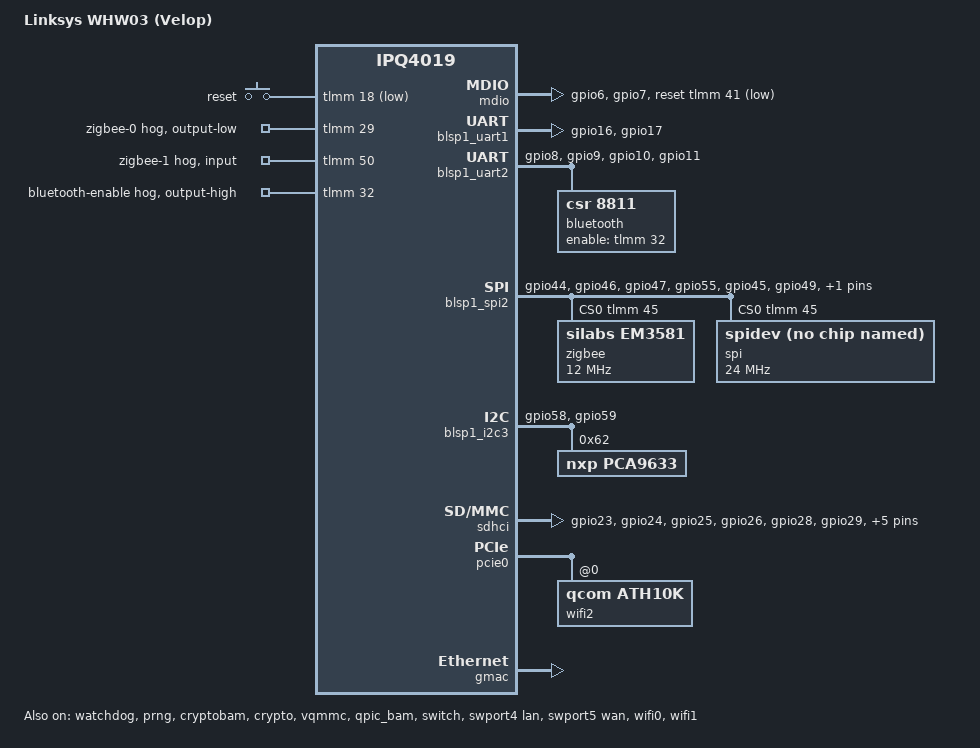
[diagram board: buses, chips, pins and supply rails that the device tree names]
// SPDX-License-Identifier: GPL-2.0-or-later OR MIT


#include "qcom-ipq4019.dtsi"
#include <dt-bindings/gpio/gpio.h>
#include <dt-bindings/input/input.h>
#include <dt-bindings/soc/qcom,tcsr.h>
#include <dt-bindings/leds/common.h>

/ {
	model = "Linksys WHW03 (Velop)";
	compatible = "linksys,whw03", "qcom,ipq4019";

	aliases {
		led-boot = &led_blue;
		led-failsafe = &led_red;
		led-running = &led_green;
		led-upgrade = &led_red;
	};

	// The arguments rootfstype and ro are needed
	// to override the default bootargs
	chosen {
		bootargs-append = " rootfstype=squashfs clk_ignore_unused";
		stdout-path = &blsp1_uart1;
	};


	soc {
		ess-tcsr@1953000 {
			compatible = "qcom,tcsr";
			reg = <0x1953000 0x1000>;
			qcom,ess-interface-select = <TCSR_ESS_PSGMII>;
		};

		tcsr@1949000 {
			compatible = "qcom,tcsr";
			reg = <0x1949000 0x100>;
			qcom,wifi_glb_cfg = <TCSR_WIFI_GLB_CFG>;
		};

		tcsr@194b000 {
			compatible = "qcom,tcsr";
			reg = <0x194b000 0x100>;
			qcom,usb-hsphy-mode-select = <TCSR_USB_HSPHY_HOST_MODE>;
		};

		tcsr@1957000 {
			compatible = "qcom,tcsr";
			reg = <0x1957000 0x100>;
			qcom,wifi_noc_memtype_m0_m2 = <TCSR_WIFI_NOC_MEMTYPE_M0_M2>;
		};

	};

	keys {
		compatible = "gpio-keys";

		reset {
			label = "reset";
			gpios = <&tlmm 18 GPIO_ACTIVE_LOW>;
			linux,code = <KEY_RESTART>;
		};
	};
};

&tlmm {
	mdio_pins: mdio-pinmux {
		mux-1 {
			pins = "gpio6";
			function = "mdio";
			bias-pull-up;
		};
		mux-2 {
			pins = "gpio7";
			function = "mdc";
			bias-pull-up;
		};
	};

	i2c_0_pins: i2c-0-pinmux {
		mux {
			function = "blsp_i2c0";
			pins = "gpio58", "gpio59";
			bias-disable;
		};
	};

	sd_pins: sd_pins {
		pinmux {
			function = "sdio";
			pins = "gpio23", "gpio24", "gpio25", "gpio26",
				"gpio28", "gpio29", "gpio30", "gpio31";
		};

		pinmux_sd_clk {
			function = "sdio";
			pins = "gpio27";
		};

		pinmux_sd7 {
			function = "sdio";
			pins = "gpio32";
			bias-disable;
		};
	};

	serial_0_pins: serial0-pinmux {
		mux {
			pins = "gpio16", "gpio17";
			function = "blsp_uart0";
			bias-disable;
		};
	};

	serial_1_pins: serial1-pinmux {
		mux {
			pins = "gpio8", "gpio9", "gpio10", "gpio11";
			function = "blsp_uart1";
			bias-disable;
		};
	};

	spi_0_pins: spi-0-pinmux {
		mux {
			function = "blsp_spi0";
			pins = "gpio13", "gpio14", "gpio15";
			drive-strength = <12>;
			bias-disable;
		};

		mux-cs {
			pins = "gpio12";
			drive-strength = <2>;
			bias-disable;
			output-high;
		};
	};

	spi_1_pins: spi-1-pinmux {
		mux-1 {
			function = "blsp_spi1";
			pins = "gpio44", "gpio46","gpio47";
			bias-disable;
		};

		mux-2 {
			pins = "gpio55", "gpio45", "gpio49";
			function = "gpio";
			bias-pull-up;
			output-high;
		};

		host-interrupt {
			pins = "gpio42";
			function = "gpio";
			input;
		};
	};

	wifi_0_pins: wifi0-pinmux {
		btcoexist {
			bias-pull-up;
			drive-strength = <6>;
			function = "gpio";
			output-high;
			pins = "gpio52";
		};
	};

	zigbee-0 {
		gpio-hog;
		gpios = <29 GPIO_ACTIVE_HIGH>;
		bias-disable;
		output-low;
	};

	zigbee-1 {
		gpio-hog;
		gpios = <50 GPIO_ACTIVE_HIGH>;
		bias-disable;
		input;
	};

	bluetooth-enable {
		gpio-hog;
		gpios = <32 GPIO_ACTIVE_HIGH>;
		output-high;
	};
};

&mdio {
	status = "okay";
	pinctrl-0 = <&mdio_pins>;
	pinctrl-names = "default";
	reset-gpios = <&tlmm 41 GPIO_ACTIVE_LOW>;
};

&ethphy0 {
	status = "disabled";
};

&ethphy1 {
	status = "disabled";
};

&ethphy2 {
	status = "disabled";
};

&watchdog {
	status = "okay";
};

&prng {
	status = "okay";
};

&blsp_dma {
	status = "okay";
};

&cryptobam {
	num-channels = <4>;
	qcom,num-ees = <2>;

	status = "okay";
};

&crypto {
	status = "okay";
};

&blsp1_uart1 {
	status = "okay";
	pinctrl-0 = <&serial_0_pins>;
	pinctrl-names = "default";
};

&blsp1_uart2 {
	status = "okay";
	pinctrl-0 = <&serial_1_pins>;
	pinctrl-names = "default";

	bluetooth {
		compatible = "csr,8811";

		enable-gpios = <&tlmm 32 GPIO_ACTIVE_HIGH>;
	};
};

&blsp1_spi2 {
	pinctrl-0 = <&spi_1_pins>;
	pinctrl-names = "default";
	status = "okay";

	cs-gpios = <&tlmm 45 GPIO_ACTIVE_HIGH>;

	zigbee@0 {
		#address-cells = <1>;
		#size-cells = <0>;

		compatible = "silabs,em3581";
		reg = <0>;
		spi-max-frequency = <12000000>;
	};

	spi@1 {
		compatible = "spidev";
		reg = <0>;
		spi-max-frequency = <24000000>;
	};
};

&vqmmc {
	status = "okay";
};

&blsp1_i2c3 {
	pinctrl-0 = <&i2c_0_pins>;
	pinctrl-1 = <&i2c_0_pins>;
	pinctrl-names = "i2c_active", "i2c_sleep";

	status = "okay";

	// RGB LEDs
	pca9633: led-controller {
		compatible = "nxp,pca9633";
		nxp,hw-blink;
		reg = <0x62>;
		#address-cells = <1>;
		#size-cells = <0>;

		led_red: red@0 {
			label = "red";
			color = <LED_COLOR_ID_RED>;
			function = LED_FUNCTION_INDICATOR;
			linux,default-trigger = "none";
			reg = <0>;
		};

		led_green: green@1 {
			label = "green";
			color = <LED_COLOR_ID_GREEN>;
			function = LED_FUNCTION_INDICATOR;
			linux,default-trigger = "default-on";
			reg = <1>;
		};

		led_blue: blue@2 {
			label = "blue";
			color = <LED_COLOR_ID_BLUE>;
			function = LED_FUNCTION_INDICATOR;
			linux,default-trigger = "none";
			reg = <2>;
		};
	};
};

&sdhci {
	vqmmc-supply = <&vqmmc>;
	pinctrl-0 = <&sd_pins>;
	pinctrl-names = "default";
	cd-gpios = <&tlmm 22 GPIO_ACTIVE_LOW>;
	sd-ldo-gpios = <&tlmm 33 GPIO_ACTIVE_LOW>;
	status = "okay";
};

&pcie0 {
	status = "okay";

	perst-gpios = <&tlmm 38 GPIO_ACTIVE_LOW>;
	wake-gpios = <&tlmm 40 GPIO_ACTIVE_LOW>;
	clkreq-gpios = <&tlmm 39 GPIO_ACTIVE_LOW>;

	bridge@0,0 {
		reg = <0x00000000 0 0 0 0>;
		#address-cells = <3>;
		#size-cells = <2>;
		ranges;

		wifi2: wifi@1,0 {
			compatible = "qcom,ath10k";
			qcom,cal-len = <0x2f20>;
			qcom,cal-offset = <0x9000>;
			qcom,mtd-name = "0:ART";
			reg = <0x00000000 0 0 0 0>;
		};
	};
};

&qpic_bam {
	status = "okay";
};

&gmac {
	status = "okay";
};

&switch {
	status = "okay";
};

&swport4 {
	status = "okay";
	label = "lan";
};

&swport5 {
	status = "okay";
	label = "wan";
};

&wifi0 {
	pinctrl-0 = <&wifi_0_pins>;
	pinctrl-names = "default";

	status = "okay";

	qcom,coexist-support = <1>;
	qcom,coexist-gpio-pin = <0x34>;

	ieee80211-freq-limit = <2401000 2473000>;
	qcom,ath10k-calibration-variant = "linksys-whw03";
	qcom,cal-len = <0x2f20>;
	qcom,cal-offset = <0x1000>;
	qcom,mtd-name = "0:ART";
	wifi-led-gpios = <&tlmm 20 GPIO_ACTIVE_LOW>;
	wifi-rssi-gpios = <&tlmm 21 GPIO_ACTIVE_LOW>;
};

&wifi1 {
	status = "okay";
	ieee80211-freq-limit = <5170000 5330000>;
	qcom,ath10k-calibration-variant = "linksys-whw03";
	qcom,cal-len = <0x2f20>;
	qcom,cal-offset = <0x5000>;
	qcom,mtd-name = "0:ART";
	wifi-led-gpios = <&tlmm 63 GPIO_ACTIVE_LOW>;
	wifi-rssi-gpios = <&tlmm 64 GPIO_ACTIVE_LOW>;
};

&wifi2 {
	status = "okay";
	ieee80211-freq-limit = <5490000 5835000>;
	qcom,ath10k-calibration-variant = "linksys-whw03";
};
